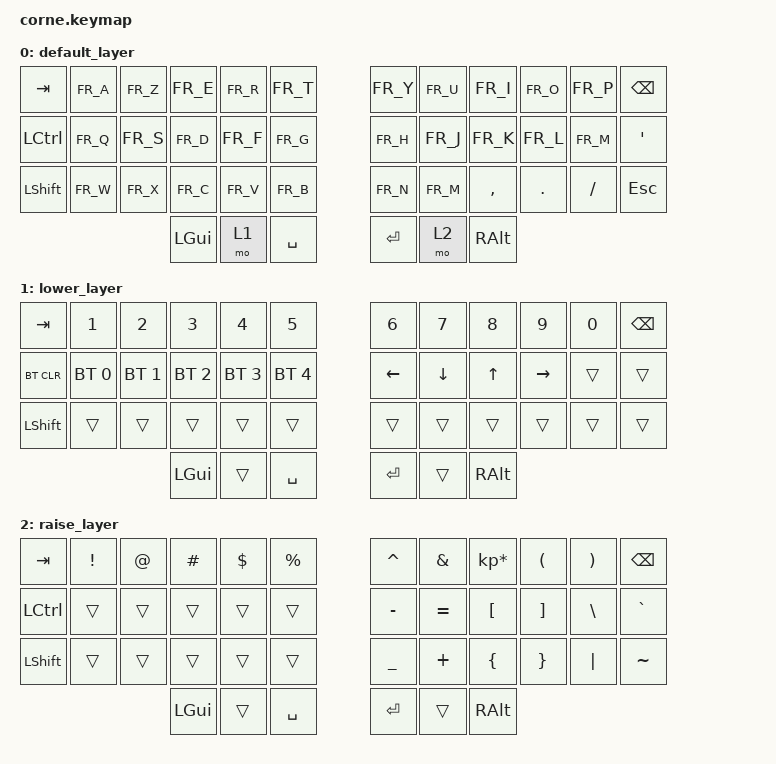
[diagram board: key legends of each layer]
/*
 * Copyright (c) 2020 The ZMK Contributors
 *
 * SPDX-License-Identifier: MIT
 */

#include <behaviors.dtsi>
#include <dt-bindings/zmk/keys.h>
#include <dt-bindings/zmk/bt.h>
#include "keys_fr.h"

/ {
        keymap {
                compatible = "zmk,keymap";

                default_layer {
// -----------------------------------------------------------------------------------------
// |  TAB |  Q  |  W  |  E  |  R  |  T  |   |  Y  |  U   |  I  |  O  |  P  | BKSP |
// | CTRL |  A  |  S  |  D  |  F  |  G  |   |  H  |  J   |  K  |  L  |  ;  |  '   |
// | SHFT |  Z  |  X  |  C  |  V  |  B  |   |  N  |  M   |  ,  |  .  |  /  | ESC  |
//                    | GUI | LWR | SPC |   | ENT | RSE  | ALT |
                        bindings = <
   &kp TAB   &kp FR_A &kp FR_Z &kp FR_E &kp FR_R &kp FR_T   &kp FR_Y &kp FR_U  &kp FR_I     &kp FR_O   &kp FR_P    &kp BSPC
   &kp LCTRL &kp FR_Q &kp FR_S &kp FR_D &kp FR_F &kp FR_G   &kp FR_H &kp FR_J  &kp FR_K     &kp FR_L   &kp FR_M &kp SQT
   &kp LSHFT &kp FR_W &kp FR_X &kp FR_C &kp FR_V &kp FR_B   &kp FR_N &kp FR_M  &kp COMMA &kp DOT &kp FSLH &kp ESC
                  &kp LGUI &mo 1 &kp SPACE   &kp RET &mo 2 &kp RALT
                        >;
                };
                lower_layer {
// -----------------------------------------------------------------------------------------
// |  TAB |  1  |  2  |  3  |  4  |  5  |   |  6  |  7  |  8  |  9  |  0  | BKSP |
// | BTCLR| BT1 | BT2 | BT3 | BT4 | BT5 |   | LFT | DWN |  UP | RGT |     |      |
// | SHFT |     |     |     |     |     |   |     |     |     |     |     |      |
//                    | GUI |     | SPC |   | ENT |     | ALT |
                        bindings = <
   &kp TAB    &kp N1       &kp N2       &kp N3       &kp N4       &kp N5         &kp N6   &kp N7   &kp N8 &kp N9    &kp N0 &kp BSPC
   &bt BT_CLR &bt BT_SEL 0 &bt BT_SEL 1 &bt BT_SEL 2 &bt BT_SEL 3 &bt BT_SEL 4   &kp LEFT &kp DOWN &kp UP &kp RIGHT &trans &trans
   &kp LSHFT  &trans       &trans       &trans       &trans       &trans         &trans   &trans   &trans &trans    &trans &trans
                                    &kp LGUI     &trans       &kp SPACE      &kp RET  &trans   &kp RALT
                        >;
                };

                raise_layer {
// -----------------------------------------------------------------------------------------
// |  TAB |  !  |  @  |  #  |  $  |  %  |   |  ^  |  &  |  *  |  (  |  )  | BKSP |
// | CTRL |     |     |     |     |     |   |  -  |  =  |  [  |  ]  |  \  |  `   |
// | SHFT |     |     |     |     |     |   |  _  |  +  |  {  |  }  | "|" |  ~   |
//                    | GUI |     | SPC |   | ENT |     | ALT |
                        bindings = <
   &kp  TAB  &kp EXCL &kp AT &kp HASH &kp DLLR &kp PRCNT   &kp CARET &kp AMPS  &kp KP_MULTIPLY &kp LPAR &kp RPAR &kp BSPC
   &kp LCTRL &trans   &trans &trans   &trans   &trans      &kp MINUS &kp EQUAL &kp LBKT        &kp RBKT &kp BSLH &kp GRAVE
   &kp LSHFT &trans   &trans &trans   &trans   &trans      &kp UNDER &kp PLUS  &kp LBRC        &kp RBRC &kp PIPE &kp TILDE
                             &kp LGUI &trans   &kp SPACE   &kp RET   &trans    &kp RALT
                        >;
                };
        };
};
